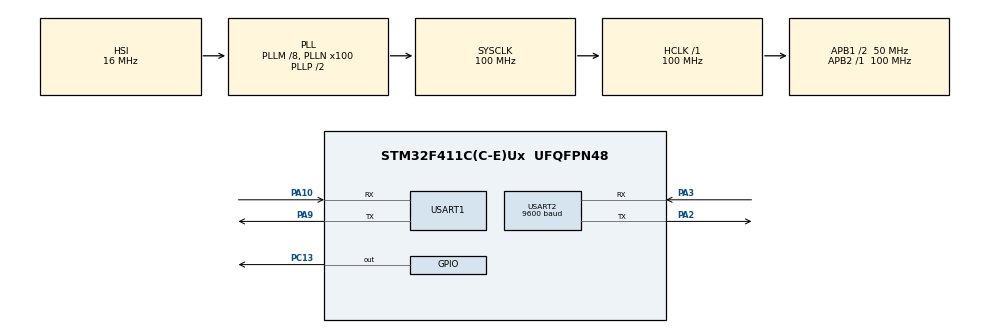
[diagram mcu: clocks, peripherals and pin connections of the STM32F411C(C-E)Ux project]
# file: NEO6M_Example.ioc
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Mcu.Family=STM32F4
Mcu.Name=STM32F411C(C-E)Ux
Mcu.Package=UFQFPN48
NVIC.PriorityGroup=NVIC_PRIORITYGROUP_4
NVIC.USART2_IRQn=true\:0\:0\:false\:false\:true\:true\:true\:true
PA10.Mode=Asynchronous
PA10.Signal=USART1_RX
PA13.Mode=Serial_Wire
PA13.Signal=SYS_JTMS-SWDIO
PA14.Mode=Serial_Wire
PA14.Signal=SYS_JTCK-SWCLK
PA2.Mode=Asynchronous
PA2.Signal=USART2_TX
PA3.Mode=Asynchronous
PA3.Signal=USART2_RX
PA9.Mode=Asynchronous
PA9.Signal=USART1_TX
PC13-ANTI_TAMP.Signal=GPIO_Output
PH0\ -\ OSC_IN.Mode=HSE-External-Oscillator
PH0\ -\ OSC_IN.Signal=RCC_OSC_IN
PH1\ -\ OSC_OUT.Mode=HSE-External-Oscillator
PH1\ -\ OSC_OUT.Signal=RCC_OSC_OUT
ProjectManager.HeapSize=0x200
ProjectManager.StackSize=0x400
ProjectManager.TargetToolchain=STM32CubeIDE
RCC.48MHZClocksFreq_Value=50000000
RCC.AHBFreq_Value=100000000
RCC.APB1CLKDivider=RCC_HCLK_DIV2
RCC.APB1Freq_Value=50000000
RCC.APB1TimFreq_Value=100000000
RCC.APB2Freq_Value=100000000
RCC.APB2TimFreq_Value=100000000
RCC.CortexFreq_Value=100000000
RCC.HCLKFreq_Value=100000000
RCC.HSE_VALUE=25000000
RCC.HSI_VALUE=16000000
RCC.LSE_VALUE=32768
RCC.PLLM=8
RCC.PLLN=100
RCC.SYSCLKFreq_VALUE=100000000
RCC.SYSCLKSource=RCC_SYSCLKSOURCE_PLLCLK
RCC.VCOOutputFreq_Value=200000000
USART1.VirtualMode=VM_ASYNC
USART2.BaudRate=9600
USART2.VirtualMode=VM_ASYNC
board=custom

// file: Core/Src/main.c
/* USER CODE BEGIN Header */
/**
  ******************************************************************************
  * @file           : main.c
  * @brief          : Main program body
  ******************************************************************************
  * @attention
  *
  * Copyright (c) 2026 STMicroelectronics.
  * All rights reserved.
  *
  * This software is licensed under terms that can be found in the LICENSE file
  * in the root directory of this software component.
  * If no LICENSE file comes with this software, it is provided AS-IS.
  *
  ******************************************************************************
  */
/* USER CODE END Header */
#include "main.h"

/* USER CODE BEGIN Includes */
#include "ANSII_Codes.h"
#include "NEO_6M.h"
#include <stdio.h>
#include <stdlib.h>
#include <math.h>
/* USER CODE END Includes */

/* USER CODE BEGIN PD */
/* -- Conexión del módulo: el GPS va por USART2 a 9600 baudios 8N1 (válido por defecto
 *    en el NEO-6M); la consola de diagnóstico es USART1 (PA9) -- */

/* -- Parámetros de la batería de pruebas -- */
#define NEO_ARRANQUE_MS     2000U      /**< El módulo tarda ~1-2 s en emitir las primeras sentencias NMEA */
#define NEO_PERIODO_MS      1000U      /**< Entre lecturas del test de muestras (los NMEA salen a 1 Hz) */
#define NEO_MUESTRAS        10U        /**< Lecturas seguidas del test de muestras */
#define NEO_SENTINEL        1000.0     /**< Coordenada fuera de rango: delata campos que Get no escribió */
#define NEO_FIX_TIMEOUT_MS  180000U    /**< Espera máxima de fix: arranque en frío ~30 s a cielo abierto, más con mala visibilidad */

/* Rangos físicos de la posición */
#define NEO_LAT_MAX         90.0       /**< |latitud| máxima [grados decimales] */
#define NEO_LON_MAX         180.0      /**< |longitud| máxima [grados decimales] */
#define NEO_HDOP_MAX        100.0f     /**< El NEO-6M informa HDOP 99.99 sin fix */
#define NEO_RUMBO_MAX       360.0f     /**< Rumbo sobre el suelo [grados] */

/* Puntos de control de Distance/Bearing */
#define NEO_GRADO_M         111195.08  /**< 1 grado de meridiano = R·π/180 con R = 6371008.8 m */
#define NEO_DIST_TOL_M      1.0        /**< Tolerancia de distancia [m] */
#define NEO_RUMBO_TOL       1e-6       /**< Tolerancia de rumbo [grados] */
/* USER CODE END PD */

/* USER CODE BEGIN PM */
#define NEO_CHECK(x)  do { if ((x) != NEO_6M_OK) { Error_Handler(); } } while (0)
/* Para los tests de error: la llamada debe devolver exactamente el estado esperado */
#define NEO_EXPECT(x, st)  do { if ((x) != (st)) { Error_Handler(); } } while (0)
/* USER CODE END PM */

UART_HandleTypeDef huart1;
UART_HandleTypeDef huart2;

/* USER CODE BEGIN PV */
NEO_6M_Status_t status;
/* USER CODE END PV */

void SystemClock_Config(void);
static void MX_GPIO_Init(void);
static void MX_USART1_UART_Init(void);
static void MX_USART2_UART_Init(void);
/* USER CODE BEGIN PFP */
static void NEO6M_Centinela(NEO_6M_Data_t* m);
static void NEO6M_Leer(NEO_6M_Data_t* m);
static void NEO6M_CheckDatos(const NEO_6M_Data_t* m);
static void NEO6M_CheckSinTocar(const NEO_6M_Data_t* m);
static void NEO6M_Print(const NEO_6M_Data_t* m);
static void NEO6M_TestSuite(void);
static void NEO6M_TestPreInit(void);
static void NEO6M_EsperarFix(void);
static void NEO6M_TestLectura(void);
static void NEO6M_TestMuestras(void);
static void NEO6M_TestConversiones(void);
static void NEO6M_TestErrores(void);
static void NEO6M_TestDeInit(void);
/* USER CODE END PFP */

int main(void)
{

  /* MCU Configuration--------------------------------------------------------*/

  /* Reset of all peripherals, Initializes the Flash interface and the Systick. */
  HAL_Init();

  /* Configure the system clock */
  SystemClock_Config();

  /* Initialize all configured peripherals */
  MX_GPIO_Init();
  MX_USART1_UART_Init();
  MX_USART2_UART_Init();
  /* USER CODE BEGIN 2 */
  printf(CLEAR_SCREEN CURSOR_HOME COLOR_BOLD COLOR_CYAN "NEO6M TEST" COLOR_RESET "\r\n");
  NEO6M_TestPreInit();

  status = NEO_6M_Init(&huart2);
  if(status != NEO_6M_OK)
  {
	  Error_Handler();
  }
  else
  {
	  HAL_GPIO_WritePin(GPIOC, GPIO_PIN_13, GPIO_PIN_RESET);
  }
  HAL_Delay(NEO_ARRANQUE_MS);   /* Arranque del módulo: primeras sentencias NMEA */
  NEO6M_EsperarFix();
  /* USER CODE END 2 */

  /* Infinite loop */
  /* USER CODE BEGIN WHILE */
  while (1)
  {
	  NEO6M_TestSuite();
    /* USER CODE END WHILE */

  }
}

void SystemClock_Config(void)
{
  RCC_OscInitTypeDef RCC_OscInitStruct = {0};
  RCC_ClkInitTypeDef RCC_ClkInitStruct = {0};

  /** Configure the main internal regulator output voltage
  */
  __HAL_RCC_PWR_CLK_ENABLE();
  __HAL_PWR_VOLTAGESCALING_CONFIG(PWR_REGULATOR_VOLTAGE_SCALE1);

  /** Initializes the RCC Oscillators according to the specified parameters
  * in the RCC_OscInitTypeDef structure.
  */
  RCC_OscInitStruct.OscillatorType = RCC_OSCILLATORTYPE_HSI;
  RCC_OscInitStruct.HSIState = RCC_HSI_ON;
  RCC_OscInitStruct.HSICalibrationValue = RCC_HSICALIBRATION_DEFAULT;
  RCC_OscInitStruct.PLL.PLLState = RCC_PLL_ON;
  RCC_OscInitStruct.PLL.PLLSource = RCC_PLLSOURCE_HSI;
  RCC_OscInitStruct.PLL.PLLM = 8;
  RCC_OscInitStruct.PLL.PLLN = 100;
  RCC_OscInitStruct.PLL.PLLP = RCC_PLLP_DIV2;
  RCC_OscInitStruct.PLL.PLLQ = 4;
  if (HAL_RCC_OscConfig(&RCC_OscInitStruct) != HAL_OK)
  {
    Error_Handler();
  }

  /** Initializes the CPU, AHB and APB buses clocks
  */
  RCC_ClkInitStruct.ClockType = RCC_CLOCKTYPE_HCLK|RCC_CLOCKTYPE_SYSCLK
                              |RCC_CLOCKTYPE_PCLK1|RCC_CLOCKTYPE_PCLK2;
  RCC_ClkInitStruct.SYSCLKSource = RCC_SYSCLKSOURCE_PLLCLK;
  RCC_ClkInitStruct.AHBCLKDivider = RCC_SYSCLK_DIV1;
  RCC_ClkInitStruct.APB1CLKDivider = RCC_HCLK_DIV2;
  RCC_ClkInitStruct.APB2CLKDivider = RCC_HCLK_DIV1;

  if (HAL_RCC_ClockConfig(&RCC_ClkInitStruct, FLASH_LATENCY_3) != HAL_OK)
  {
    Error_Handler();
  }
}

static void MX_USART1_UART_Init(void)
{

  huart1.Instance = USART1;
  huart1.Init.BaudRate = 115200;
  huart1.Init.WordLength = UART_WORDLENGTH_8B;
  huart1.Init.StopBits = UART_STOPBITS_1;
  huart1.Init.Parity = UART_PARITY_NONE;
  huart1.Init.Mode = UART_MODE_TX_RX;
  huart1.Init.HwFlowCtl = UART_HWCONTROL_NONE;
  huart1.Init.OverSampling = UART_OVERSAMPLING_16;
  if (HAL_UART_Init(&huart1) != HAL_OK)
  {
    Error_Handler();
  }

}

static void MX_USART2_UART_Init(void)
{

  huart2.Instance = USART2;
  huart2.Init.BaudRate = 9600;
  huart2.Init.WordLength = UART_WORDLENGTH_8B;
  huart2.Init.StopBits = UART_STOPBITS_1;
  huart2.Init.Parity = UART_PARITY_NONE;
  huart2.Init.Mode = UART_MODE_TX_RX;
  huart2.Init.HwFlowCtl = UART_HWCONTROL_NONE;
  huart2.Init.OverSampling = UART_OVERSAMPLING_16;
  if (HAL_UART_Init(&huart2) != HAL_OK)
  {
    Error_Handler();
  }

}

static void MX_GPIO_Init(void)
{
  GPIO_InitTypeDef GPIO_InitStruct = {0};

  /* GPIO Ports Clock Enable */
  __HAL_RCC_GPIOC_CLK_ENABLE();
  __HAL_RCC_GPIOH_CLK_ENABLE();
  __HAL_RCC_GPIOA_CLK_ENABLE();

  /*Configure GPIO pin Output Level */
  HAL_GPIO_WritePin(GPIOC, GPIO_PIN_13, GPIO_PIN_RESET);

  /*Configure GPIO pin : PC13 */
  GPIO_InitStruct.Pin = GPIO_PIN_13;
  GPIO_InitStruct.Mode = GPIO_MODE_OUTPUT_PP;
  GPIO_InitStruct.Pull = GPIO_NOPULL;
  GPIO_InitStruct.Speed = GPIO_SPEED_FREQ_LOW;
  HAL_GPIO_Init(GPIOC, &GPIO_InitStruct);

}

/* USER CODE BEGIN 4 */

/* printf por USART1 (PA9): syscalls.c redirige _write a esta función débil */
int __io_putchar(int ch)
{
	uint8_t c = (uint8_t)ch;
	HAL_UART_Transmit(&huart1, &c, 1, HAL_MAX_DELAY);
	return ch;
}

/* Enruta el byte recibido hacia el driver GPS: él mismo comprueba que el handle
 * sea el suyo (ignora USART1) y rearma la interrupción automáticamente */
void HAL_UART_RxCpltCallback(UART_HandleTypeDef *huart)
{
    NEO_6M_UART_RxCpltCallback(huart);
}

/* Un overrun (ORE) aborta la recepción por IT: el driver la rearma */
void HAL_UART_ErrorCallback(UART_HandleTypeDef *huart)
{
    NEO_6M_UART_ErrorCallback(huart);
}

/* Rellena la muestra con el centinela para detectar campos que Get no escribió */
static void NEO6M_Centinela(NEO_6M_Data_t* m)
{
	m->latitude  = NEO_SENTINEL;
	m->longitude = NEO_SENTINEL;
}

/* Lectura completa: debe ir bien y dejar datos plausibles en la estructura */
static void NEO6M_Leer(NEO_6M_Data_t* m)
{
	NEO6M_Centinela(m);
	NEO_CHECK(NEO_6M_Get(m));
	NEO6M_CheckDatos(m);
}

/* Coherencia de la estructura: rangos físicos y códigos válidos. Sin fix los
 * campos valen 0 (que también es válido). Las comparaciones de doble se escriben
 * como !(v >= min && v <= max) para que un NaN también falle */
static void NEO6M_CheckDatos(const NEO_6M_Data_t* m)
{
	if (!(m->latitude >= -NEO_LAT_MAX && m->latitude <= NEO_LAT_MAX) ||
		!(m->longitude >= -NEO_LON_MAX && m->longitude <= NEO_LON_MAX) ||
		m->fixQuality > 8 || m->numSatellites > 32 ||
		m->hours > 23 || m->minutes > 59 || m->seconds > 59 ||
		m->localHour > 23 ||
		!(m->hdop >= 0.0f && m->hdop <= NEO_HDOP_MAX) ||
		!(m->speedKmh >= 0.0f) ||
		!(m->course >= 0.0f && m->course <= NEO_RUMBO_MAX) ||
		m->day > 31 || m->month > 12 || m->year > 99 ||
		(m->posStatus != 'A' && m->posStatus != 'V' && m->posStatus != 0) ||
		(m->northSouth != 'N' && m->northSouth != 'S' && m->northSouth != 0) ||
		(m->eastWest != 'E' && m->eastWest != 'W' && m->eastWest != 0))
	{
		Error_Handler();
	}
}

/* Tras un Get rechazado la muestra debe seguir intacta */
static void NEO6M_CheckSinTocar(const NEO_6M_Data_t* m)
{
	if (m->latitude != NEO_SENTINEL || m->longitude != NEO_SENTINEL)
	{
		Error_Handler();
	}
}

/* El proyecto no enlaza -u _printf_float: coordenadas en miligrados con enteros
 * (±90 * 1000 cabe de sobra en int32), altura, velocidad y rumbo en décimas y
 * HDOP en centésimas (estos tres nunca son negativos) */
static void NEO6M_Print(const NEO_6M_Data_t* m)
{
	const int32_t latI = (int32_t)(m->latitude  * 1000.0 + ((m->latitude  < 0.0) ? -0.5 : 0.5));
	const int32_t lonI = (int32_t)(m->longitude * 1000.0 + ((m->longitude < 0.0) ? -0.5 : 0.5));
	const int32_t altI = (int32_t)(m->altitude * 10.0f  + ((m->altitude < 0.0f) ? -0.5f : 0.5f));
	const int32_t hdI  = (int32_t)(m->hdop     * 100.0f + 0.5f);
	const int32_t velI = (int32_t)(m->speedKmh * 10.0f  + 0.5f);
	const int32_t rumI = (int32_t)(m->course   * 10.0f  + 0.5f);
	const char    ns   = (m->northSouth != 0) ? m->northSouth : '-';
	const char    ew   = (m->eastWest   != 0) ? m->eastWest   : '-';
	const char    st   = (m->posStatus  != 0) ? m->posStatus  : '-';

	printf("Lat %s%ld.%03ld %c  Lon %s%ld.%03ld %c | UTC %02u:%02u:%02u.%03u (Local %02u) | Alt %ld.%01ld m | FixQ %u Sat %u | %c\r\n",
		   (latI < 0) ? "-" : "", labs(latI) / 1000, labs(latI) % 1000, ns,
		   (lonI < 0) ? "-" : "", labs(lonI) / 1000, labs(lonI) % 1000, ew,
		   (unsigned)m->hours, (unsigned)m->minutes, (unsigned)m->seconds, (unsigned)m->milliseconds,
		   (unsigned)m->localHour,
		   labs(altI) / 10, labs(altI) % 10,
		   (unsigned)m->fixQuality, (unsigned)m->numSatellites,
		   st);
	printf("       Fecha %02u/%02u/20%02u | HDOP %ld.%02ld | Vel %ld.%01ld km/h | Rumbo %ld.%01ld%s\r\n",
		   (unsigned)m->day, (unsigned)m->month, (unsigned)m->year,
		   hdI / 100, hdI % 100, velI / 10, velI % 10, rumI / 10, rumI % 10,
		   (m->fixQuality == 0U) ? COLOR_RED "  [SIN FIX: posicion no actual]" COLOR_RESET : "");
}

/* -- Espera de fix: sin él el módulo emite NMEA válidos (Get devuelve OK) pero con
 *    fixQuality 0 y la posición a 0 o la última conocida. Muestra el progreso cada
 *    segundo y parpadea el LED lento (1 Hz; el de Error_Handler es 5 Hz). Agotado
 *    NEO_FIX_TIMEOUT_MS sigue sin fix: la batería de pruebas es válida igualmente.
 *    Get con TIMEOUT aquí no es falta de fix sino de NMEA (cableado/baudios) -- */
static void NEO6M_EsperarFix(void)
{
	NEO_6M_Data_t m;
	const uint32_t t0 = HAL_GetTick();

	printf(COLOR_YELLOW "[Esperando fix]" COLOR_RESET " (coloca la antena con vista al cielo)\r\n");
	for (;;)
	{
		NEO_CHECK(NEO_6M_Get(&m));
		const uint32_t s = (HAL_GetTick() - t0) / 1000U;

		if (m.fixQuality != 0U)
		{
			printf("\r\n" COLOR_GREEN "Fix en %lu s (%u satelites)" COLOR_RESET "\r\n",
				   (unsigned long)s, (unsigned)m.numSatellites);
			break;
		}
		if ((HAL_GetTick() - t0) >= NEO_FIX_TIMEOUT_MS)
		{
			printf("\r\n" COLOR_RED "Sin fix tras %lu s: se continua sin posicion" COLOR_RESET "\r\n",
				   (unsigned long)s);
			break;
		}

		const int32_t hdI = (int32_t)(m.hdop * 100.0f + 0.5f);
		printf("\r  %3lu s | Sat %2u | HDOP %ld.%02ld | UTC %02u:%02u:%02u ",
			   (unsigned long)s, (unsigned)m.numSatellites, hdI / 100, hdI % 100,
			   (unsigned)m.hours, (unsigned)m.minutes, (unsigned)m.seconds);
		fflush(stdout);   /* Sin '\n' newlib retiene la línea en el búfer */
		HAL_GPIO_TogglePin(GPIOC, GPIO_PIN_13);
		HAL_Delay(1000);
	}
	HAL_GPIO_WritePin(GPIOC, GPIO_PIN_13, GPIO_PIN_RESET);
}

static void NEO6M_TestSuite(void)
{
	NEO6M_TestLectura();
	HAL_Delay(2000);

	NEO6M_TestMuestras();
	HAL_Delay(2000);

	NEO6M_TestConversiones();
	HAL_Delay(2000);

	NEO6M_TestErrores();
	HAL_Delay(2000);

	NEO6M_TestDeInit();
	HAL_Delay(2000);
}

static void NEO6M_TestPreInit(void)
{
	NEO_6M_Data_t m;
	NEO_6M_UTM_t utm;
	NEO_6M_DMS_t dms;
	double v;

	/* -- Antes de Init: Get devuelve NOT_INITIALIZED sin tocar la muestra (el check
	 *    de inicialización va antes de la copia) y Get con NULL, INVALID_PARAM -- */
	NEO6M_Centinela(&m);
	NEO_EXPECT(NEO_6M_Get(&m), NEO_6M_NOT_INITIALIZED);
	NEO6M_CheckSinTocar(&m);
	NEO_EXPECT(NEO_6M_Get(NULL), NEO_6M_INVALID_PARAM);

	/* -- Las conversiones son matemática pura y no dependen del driver: salida NULL
	 *    y coordenadas fuera de rango o NaN se rechazan. DMS: |grados| > 180
	 *    desbordaría dms.degrees; UTM: lat > 84, lon < -180; Distance/Bearing:
	 *    |lat| > 90, |lon| > 180 en cualquiera de los dos puntos -- */
	NEO_EXPECT(NEO_6M_DecimalToDMS(0.0, 'N', NULL), NEO_6M_INVALID_PARAM);
	NEO_EXPECT(NEO_6M_DecimalToDMS(181.0, 'E', &dms), NEO_6M_INVALID_PARAM);
	NEO_EXPECT(NEO_6M_DecimalToDMS(NAN, 'E', &dms), NEO_6M_INVALID_PARAM);
	NEO_EXPECT(NEO_6M_DecimalToUTM(0.0, 0.0, NULL), NEO_6M_INVALID_PARAM);
	NEO_EXPECT(NEO_6M_DecimalToUTM(85.0, 0.0, &utm), NEO_6M_INVALID_PARAM);
	NEO_EXPECT(NEO_6M_DecimalToUTM(0.0, -181.0, &utm), NEO_6M_INVALID_PARAM);
	NEO_EXPECT(NEO_6M_Distance(0.0, 0.0, 0.0, 0.0, NULL), NEO_6M_INVALID_PARAM);
	NEO_EXPECT(NEO_6M_Distance(91.0, 0.0, 0.0, 0.0, &v), NEO_6M_INVALID_PARAM);
	NEO_EXPECT(NEO_6M_Distance(0.0, 0.0, 0.0, 181.0, &v), NEO_6M_INVALID_PARAM);
	NEO_EXPECT(NEO_6M_Bearing(0.0, 0.0, 0.0, 0.0, NULL), NEO_6M_INVALID_PARAM);
	NEO_EXPECT(NEO_6M_Bearing(0.0, NAN, 0.0, 0.0, &v), NEO_6M_INVALID_PARAM);
	NEO_EXPECT(NEO_6M_Bearing(0.0, 0.0, -91.0, 0.0, &v), NEO_6M_INVALID_PARAM);

	/* -- DeInit sobre un driver sin inicializar es inofensivo (el handle es NULL y
	 *    HAL_UART_AbortReceive_IT no lo desreferencia) -- */
	NEO_CHECK(NEO_6M_DeInit());
}

static void NEO6M_TestLectura(void)
{
	NEO_6M_Data_t m;

	/* -- Lectura única: datos plausibles con fix o sin él. En interior, el módulo
	 *    emite NMEA válidos con fixQuality 0 y campos a 0 -- */
	printf(COLOR_YELLOW "[Lectura]" COLOR_RESET "\r\n");
	NEO6M_Leer(&m);
	NEO6M_Print(&m);
}

static void NEO6M_TestMuestras(void)
{
	NEO_6M_Data_t m;

	/* -- Lecturas seguidas cada NEO_PERIODO_MS (el módulo emite NMEA a 1 Hz):
	 *    ninguna debe fallar. Colócalo junto a una ventana o sal al exterior:
	 *    con fix la posición y la hora UTC avanzan; sin fix la lectura sigue
	 *    siendo válida (fixQuality 0 y la última posición conocida, o 0 si
	 *    nunca hubo fix). Si se desconecta el GPS, Get devuelve TIMEOUT -- */
	printf(COLOR_YELLOW "[Muestras]" COLOR_RESET "\r\n");
	for (uint8_t i = 1; i <= NEO_MUESTRAS; i++)
	{
		NEO6M_Leer(&m);
		printf("%2u/%u  ", i, NEO_MUESTRAS);
		NEO6M_Print(&m);
		HAL_Delay(NEO_PERIODO_MS);
	}
}

static void NEO6M_TestConversiones(void)
{
	NEO_6M_DMS_t dms;
	NEO_6M_UTM_t utm;
	double rec;

	/* -- DMS exacto: 40.5 grados son 40 grados, 30 minutos y 0 segundos; el
	 *    hemisferio se copia tal cual -- */
	printf(COLOR_YELLOW "[Conversiones]" COLOR_RESET "\r\n");
	NEO_CHECK(NEO_6M_DecimalToDMS(40.5, 'N', &dms));
	if (dms.degrees != 40 || dms.minutes != 30 || dms.seconds != 0 || dms.hemisphere != 'N')
	{
		Error_Handler();
	}

	/* -- Ida y vuelta: reconstruir el decimal desde el DMS debe diferir menos de
	 *    1 segundo de arco (los segundos se truncan, así que el error solo puede
	 *    ser por debajo del valor original). Con Madrid se cubren lat/lon reales -- */
	const double lat = 40.416775;
	const double lon = -3.703790;

	NEO_CHECK(NEO_6M_DecimalToDMS(lat, 'N', &dms));
	rec = dms.degrees + dms.minutes / 60.0 + dms.seconds / 3600.0;
	if (!(fabs(rec - lat) <= 1.0 / 3600.0))
	{
		Error_Handler();
	}

	/* La conversión trabaja sobre el valor absoluto: 3.703790 W -> 3°42'13" W */
	NEO_CHECK(NEO_6M_DecimalToDMS(lon, 'W', &dms));
	rec = dms.degrees + dms.minutes / 60.0 + dms.seconds / 3600.0;
	if (!(fabs(rec - fabs(lon)) <= 1.0 / 3600.0))
	{
		Error_Handler();
	}

	/* -- UTM con punto de control perfecto: el meridiano central de la zona 31
	 *    (3E, en el ecuador) no tiene sesgo de escala y da este 500000 / norte 0;
	 *    la banda del ecuador es N. En 75N 15E la excepción de Svalbard cambia
	 *    la zona a 33 (no la 32) y la banda es X -- */
	NEO_CHECK(NEO_6M_DecimalToUTM(0.0, 3.0, &utm));
	if (!(utm.easting >= 499999U && utm.easting <= 500001U) ||
		utm.northing > 1U || utm.zoneNumber != 31 || utm.zone != 'N')
	{
		Error_Handler();
	}

	NEO_CHECK(NEO_6M_DecimalToUTM(75.0, 15.0, &utm));
	if (utm.zoneNumber != 33 || utm.zone != 'X')
	{
		Error_Handler();
	}

	/* -- Distance: 1 grado a lo largo de un meridiano mide R·π/180; un punto
	 *    consigo mismo (Madrid), 0 -- */
	NEO_CHECK(NEO_6M_Distance(0.0, 0.0, 1.0, 0.0, &rec));
	if (!(fabs(rec - NEO_GRADO_M) <= NEO_DIST_TOL_M))
	{
		Error_Handler();
	}

	NEO_CHECK(NEO_6M_Distance(lat, lon, lat, lon, &rec));
	if (!(rec <= NEO_DIST_TOL_M))
	{
		Error_Handler();
	}

	/* -- Bearing desde el origen hacia los cuatro puntos cardinales (0, 90, 180,
	 *    270) y 0 con puntos coincidentes (rumbo indefinido) -- */
	static const double destino[4][2] = { {1.0, 0.0}, {0.0, 1.0}, {-1.0, 0.0}, {0.0, -1.0} };
	for (uint8_t i = 0; i < 4U; i++)
	{
		NEO_CHECK(NEO_6M_Bearing(0.0, 0.0, destino[i][0], destino[i][1], &rec));
		if (!(fabs(rec - 90.0 * i) <= NEO_RUMBO_TOL))
		{
			Error_Handler();
		}
	}

	NEO_CHECK(NEO_6M_Bearing(lat, lon, lat, lon, &rec));
	if (rec != 0.0)
	{
		Error_Handler();
	}

	printf(COLOR_GREEN "Conversiones OK" COLOR_RESET "\r\n");
}

static void NEO6M_TestErrores(void)
{
	NEO_6M_Data_t m;

	/* -- Punteros de salida NULL e Init con handle NULL: se rechazan con
	 *    INVALID_PARAM sin tocar la muestra ni el estado del driver -- */
	printf(COLOR_YELLOW "[Errores]" COLOR_RESET "\r\n");
	NEO6M_Centinela(&m);
	NEO_EXPECT(NEO_6M_Get(NULL), NEO_6M_INVALID_PARAM);
	NEO_EXPECT(NEO_6M_DecimalToDMS(0.0, 'S', NULL), NEO_6M_INVALID_PARAM);
	NEO_EXPECT(NEO_6M_Init(NULL), NEO_6M_INVALID_PARAM);
	NEO6M_CheckSinTocar(&m);

	/* El driver conservó el UART y el búfer: sigue leyendo */
	NEO6M_Leer(&m);
	printf(COLOR_GREEN "Errores OK" COLOR_RESET "\r\n");
}

static void NEO6M_TestDeInit(void)
{
	NEO_6M_Data_t m;

	/* -- DeInit aborta la recepción (las sentencias que lleguen mientras se
	 *    pierden): repetirlo sigue devolviendo OK, y Get pasa a NOT_INITIALIZED
	 *    sin tocar la muestra -- */
	printf(COLOR_YELLOW "[DeInit]" COLOR_RESET "\r\n");
	NEO_CHECK(NEO_6M_DeInit());
	NEO_CHECK(NEO_6M_DeInit());
	NEO6M_Centinela(&m);
	NEO_EXPECT(NEO_6M_Get(&m), NEO_6M_NOT_INITIALIZED);
	NEO6M_CheckSinTocar(&m);

	/* -- Re-Init: la interrupción se rearma y las lecturas vuelven. El segundo
	 *    Init sin DeInit aborta la RX previa en vez de chocar con HAL_BUSY.
	 *    Init borra los datos: hasta la primera sentencia válida Get devuelve
	 *    TIMEOUT (una sentencia tarda ~70 ms en llegar a 9600 baudios) -- */
	NEO_CHECK(NEO_6M_Init(&huart2));
	NEO_CHECK(NEO_6M_Init(&huart2));
	NEO_EXPECT(NEO_6M_Get(&m), NEO_6M_TIMEOUT);
	HAL_Delay(NEO_ARRANQUE_MS);
	NEO6M_Leer(&m);
	NEO6M_Print(&m);
	printf(COLOR_GREEN "Re-Init OK" COLOR_RESET "\r\n");
}

/* USER CODE END 4 */

void Error_Handler(void)
{
  /* USER CODE BEGIN Error_Handler_Debug */
  /* User can add his own implementation to report the HAL error return state */
  /* Si la UART aún no está inicializada, HAL_UART_Transmit devuelve BUSY sin bloquear */
  printf(COLOR_BOLD COLOR_RED "\r\nERROR: prueba fallida" COLOR_RESET "\r\n");
  while (1)
  {
	  HAL_GPIO_TogglePin(GPIOC, GPIO_PIN_13);
	  HAL_Delay(200);
  }
  /* USER CODE END Error_Handler_Debug */
}
